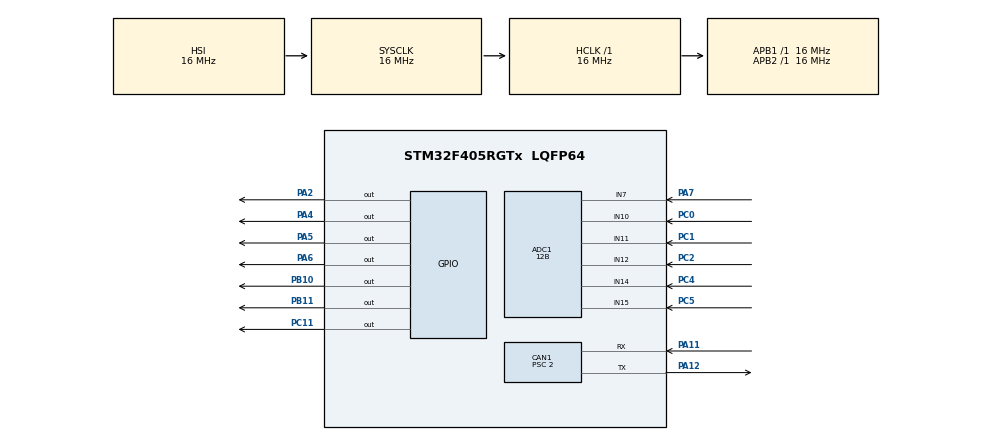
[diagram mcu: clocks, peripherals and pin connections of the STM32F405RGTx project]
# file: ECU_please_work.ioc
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ADC1.Channel-1\#ChannelRegularConversion=ADC_CHANNEL_10
ADC1.Channel-2\#ChannelRegularConversion=ADC_CHANNEL_11
ADC1.Channel-3\#ChannelRegularConversion=ADC_CHANNEL_12
ADC1.Channel-4\#ChannelRegularConversion=ADC_CHANNEL_7
ADC1.Channel-5\#ChannelRegularConversion=ADC_CHANNEL_14
ADC1.Channel-6\#ChannelRegularConversion=ADC_CHANNEL_15
ADC1.NbrOfConversion=6
ADC1.NbrOfConversionFlag=1
ADC1.Rank-1\#ChannelRegularConversion=1
ADC1.Rank-2\#ChannelRegularConversion=2
ADC1.Rank-3\#ChannelRegularConversion=3
ADC1.Rank-4\#ChannelRegularConversion=4
ADC1.Rank-5\#ChannelRegularConversion=5
ADC1.Rank-6\#ChannelRegularConversion=6
ADC1.Resolution=ADC_RESOLUTION_12B
ADC1.SamplingTime-1\#ChannelRegularConversion=ADC_SAMPLETIME_15CYCLES
ADC1.SamplingTime-2\#ChannelRegularConversion=ADC_SAMPLETIME_15CYCLES
ADC1.SamplingTime-3\#ChannelRegularConversion=ADC_SAMPLETIME_15CYCLES
ADC1.SamplingTime-4\#ChannelRegularConversion=ADC_SAMPLETIME_15CYCLES
ADC1.SamplingTime-5\#ChannelRegularConversion=ADC_SAMPLETIME_15CYCLES
ADC1.SamplingTime-6\#ChannelRegularConversion=ADC_SAMPLETIME_15CYCLES
ADC1.ScanConvMode=ENABLE
ADC1.master=1
CAN1.BS1=CAN_BS1_12TQ
CAN1.BS2=CAN_BS2_3TQ
CAN1.CalculateBaudRate=500000
CAN1.CalculateTimeBit=2000
CAN1.CalculateTimeQuantum=125.0
CAN1.Prescaler=2
Mcu.Family=STM32F4
Mcu.Name=STM32F405RGTx
Mcu.Package=LQFP64
NVIC.CAN1_RX0_IRQn=true\:0\:0\:false\:false\:true\:true\:true\:true
NVIC.CAN1_SCE_IRQn=true\:0\:0\:false\:false\:true\:true\:true\:true
NVIC.PriorityGroup=NVIC_PRIORITYGROUP_4
PA11.Mode=CAN_Activate
PA11.Signal=CAN1_RX
PA12.Mode=CAN_Activate
PA12.Signal=CAN1_TX
PA13.Mode=Serial_Wire
PA13.Signal=SYS_JTMS-SWDIO
PA14.Mode=Serial_Wire
PA14.Signal=SYS_JTCK-SWCLK
PA2.GPIO_Speed=GPIO_SPEED_FREQ_HIGH
PA2.PinState=GPIO_PIN_RESET
PA2.Signal=GPIO_Output
PA4.Signal=GPIO_Output
PA5.Signal=GPIO_Output
PA6.Signal=GPIO_Output
PA7.Signal=ADCx_IN7
PB10.GPIO_PuPd=GPIO_NOPULL
PB10.GPIO_Speed=GPIO_SPEED_FREQ_HIGH
PB10.PinState=GPIO_PIN_RESET
PB10.Signal=GPIO_Output
PB11.GPIO_PuPd=GPIO_NOPULL
PB11.GPIO_Speed=GPIO_SPEED_FREQ_HIGH
PB11.PinState=GPIO_PIN_RESET
PB11.Signal=GPIO_Output
PC0.Signal=ADCx_IN10
PC1.Signal=ADCx_IN11
PC11.GPIO_PuPd=GPIO_PULLDOWN
PC11.GPIO_Speed=GPIO_SPEED_FREQ_HIGH
PC11.PinState=GPIO_PIN_RESET
PC11.Signal=GPIO_Output
PC2.Signal=ADCx_IN12
PC4.Signal=ADCx_IN14
PC5.Signal=ADCx_IN15
ProjectManager.HeapSize=0x200
ProjectManager.StackSize=0x400
ProjectManager.TargetToolchain=CMake
RCC.AHBFreq_Value=16000000
RCC.APB1Freq_Value=16000000
RCC.APB2Freq_Value=16000000
RCC.CortexFreq_Value=16000000
RCC.HSE_VALUE=25000000
RCC.HSI_VALUE=16000000
RCC.LSE_VALUE=32768
RCC.SYSCLKFreq_VALUE=16000000
RCC.VCOOutputFreq_Value=192000000
SH.ADCx_IN10.0=ADC1_IN10,IN10
SH.ADCx_IN11.0=ADC1_IN11,IN11
SH.ADCx_IN12.0=ADC1_IN12,IN12
SH.ADCx_IN14.0=ADC1_IN14,IN14
SH.ADCx_IN15.0=ADC1_IN15,IN15
SH.ADCx_IN7.0=ADC1_IN7,IN7
VP_IWDG_VS_IWDG.Mode=IWDG_Activate
board=custom

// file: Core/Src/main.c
/* USER CODE BEGIN Header */
/**
  ******************************************************************************
  * @file           : main.c
  * @brief          : Main program body
  ******************************************************************************
  * @attention
  *
  * Copyright (c) 2026 STMicroelectronics.
  * All rights reserved.
  *
  * This software is licensed under terms that can be found in the LICENSE file
  * in the root directory of this software component.
  * If no LICENSE file comes with this software, it is provided AS-IS.
  *
  ******************************************************************************
  */
/* USER CODE END Header */
#include "main.h"
#include "adc.h"
#include "can.h"
#include "iwdg.h"
#include "gpio.h"

/* USER CODE BEGIN PV */
CAN_TxHeaderTypeDef TxHeader;	//Instance of the TxHeader structure
CAN_RxHeaderTypeDef RxHeader;	//Instance of the RxHeader structure
CAN_FilterTypeDef Filter;

uint8_t TxData[8];				//TxData buffer
uint8_t RxData[8];				//RxData buffer
uint16_t ADC_Array[12];
uint32_t TxMailbox;				//TxMailbox address (Handled by HAL)
uint16_t max=0;

uint8_t RxReady = 0;			//Flag indicating that a new CAN message is ready

typedef struct
{
    CAN_RxHeaderTypeDef header;
    uint8_t data[8];
} CAN_Message_t;

#define CAN_RX_QUEUE_SIZE 32

CAN_Message_t CanRxQueue[CAN_RX_QUEUE_SIZE];

volatile uint16_t CanRxHead = 0;
volatile uint16_t CanRxTail = 0;
volatile uint32_t CanRxOverflow = 0;
/* USER CODE END PV */

void SystemClock_Config(void);

/* USER CODE BEGIN 0 */
//void HAL_CAN_RxFifo0MsgPendingCallback(CAN_HandleTypeDef *hcan)							//Message pending callback function
//{
//    while (HAL_CAN_GetRxFifoFillLevel(hcan, CAN_RX_FIFO0) > 0)							//While() loop ensures all CAN frames in FIFO0 are drained (if > 1)
//    {
//    	TxData[0] = 0x11;
//    	TxData[1] = 0x11;
//    	HAL_CAN_AddTxMessage(&hcan2, &TxHeader, TxData, &TxMailbox);
//        if (HAL_CAN_GetRxMessage(hcan, CAN_RX_FIFO0, &RxHeader, RxData) == HAL_OK)		//Release one frame from FIFO0 to memory
//        {
//            RxReady = 1; 																//Message ready flag. Add Queue if dealing with multiple frames at once
//        }
//    }
//}

void HAL_CAN_RxFifo0MsgPendingCallback(CAN_HandleTypeDef *hcan)
{
    while(HAL_CAN_GetRxFifoFillLevel(hcan, CAN_RX_FIFO0) > 0)
    {
        uint16_t nextHead =
            (CanRxHead + 1) % CAN_RX_QUEUE_SIZE;

        if(nextHead == CanRxTail)
        {
            /* Queue full */
            CanRxOverflow++;
            break;
        }

        if(HAL_CAN_GetRxMessage(
                hcan,
                CAN_RX_FIFO0,
                &CanRxQueue[CanRxHead].header,
                CanRxQueue[CanRxHead].data) == HAL_OK)
        {
            CanRxHead = nextHead;
        }
    }
}
volatile uint32_t LastCanErr = 0;
volatile uint32_t LastCanEsr = 0;
volatile uint32_t LastCanInstance = 0;

void HAL_CAN_ErrorCallback(CAN_HandleTypeDef *hcan)
{
    LastCanErr = hcan->ErrorCode;
    LastCanEsr = hcan->Instance->ESR;
    LastCanInstance = (uint32_t)hcan->Instance;
}

uint8_t CAN_ReadMessage(CAN_Message_t *msg)
{
    if(CanRxHead == CanRxTail)
    {
        return 0; // queue empty
    }

    *msg = CanRxQueue[CanRxTail];

    CanRxTail =
        (CanRxTail + 1) % CAN_RX_QUEUE_SIZE;

    return 1;
}
void ADC_Update(uint16_t ADC_Array[])
{
    for (int i = 0; i < 2; i++)
    {
        // Set mux state
        HAL_GPIO_WritePin(GPIOA,
                          GPIO_PIN_4 | GPIO_PIN_5 | GPIO_PIN_6,
                          i ? GPIO_PIN_SET : GPIO_PIN_RESET);

        HAL_Delay(10); // let mux settle

        HAL_ADC_Start(&hadc1);

        for (int j = 0; j < 6; j++)
        {
            HAL_ADC_PollForConversion(&hadc1, HAL_MAX_DELAY);
            ADC_Array[j + i * 6] = HAL_ADC_GetValue(&hadc1);
        }

        HAL_ADC_Stop(&hadc1);
    }
}
uint16_t Max_Adc(uint16_t ADC_Array[])
{
    uint16_t max = ADC_Array[0];

    for(int i = 1; i < 12; i++)
    {
        if(ADC_Array[i] > max)
        {
            max = ADC_Array[i];
        }
    }

    return max;
}
/* USER CODE END 0 */

int main(void)
{
  /* USER CODE BEGIN 1 */

	__HAL_RCC_CLEAR_RESET_FLAGS();
  /* USER CODE END 1 */

  /* MCU Configuration--------------------------------------------------------*/

  /* Reset of all peripherals, Initializes the Flash interface and the Systick. */
  HAL_Init();

  /* Configure the system clock */
  SystemClock_Config();

  /* Initialize all configured peripherals */
  MX_GPIO_Init();
  MX_CAN1_Init();
  MX_ADC1_Init();
  MX_IWDG_Init();
  /* USER CODE BEGIN 2 */
  TxHeader.DLC = 2; 			//CAN frame data length (up to 8 bytes)
  TxHeader.IDE = CAN_ID_STD; 	//CAN ID length (Standard or Extended)
  TxHeader.RTR = CAN_RTR_DATA; 	//Request or Data frame
  TxHeader.StdId = 0x123; 		//Device CAN ID

  if (HAL_CAN_Start(&hcan1) != HAL_OK)
  {
      Error_Handler();
  }

  // can ID filter dummy ver, change accordingly
  Filter.FilterBank = 0;
  Filter.FilterMode = CAN_FILTERMODE_IDMASK;
  Filter.FilterScale = CAN_FILTERSCALE_32BIT;
  Filter.FilterIdHigh = (0x123 << 5); // Shift required for 11-bit Standard IDs
  Filter.FilterIdLow = 0x0000;
  Filter.FilterMaskIdHigh = 0xFFE0;   // Exact match mask
  Filter.FilterMaskIdLow = 0x0000;
  Filter.FilterFIFOAssignment = CAN_RX_FIFO0;
  Filter.FilterActivation = ENABLE;

//  if (HAL_CAN_Start(&hcan2) != HAL_OK)
//   {
//       Error_Handler();
//   }

//  HAL_CAN_ActivateNotification(&hcan2, CAN_IT_RX_FIFO0_MSG_PENDING);
  HAL_CAN_ActivateNotification(
      &hcan1,
      CAN_IT_RX_FIFO0_MSG_PENDING |
      CAN_IT_ERROR |
      CAN_IT_BUSOFF |
      CAN_IT_LAST_ERROR_CODE |
      CAN_IT_ERROR_WARNING |
      CAN_IT_ERROR_PASSIVE);

//  HAL_CAN_ActivateNotification(
//      &hcan2,
//      CAN_IT_RX_FIFO0_MSG_PENDING |
//      CAN_IT_ERROR |
//      CAN_IT_BUSOFF |
//      CAN_IT_LAST_ERROR_CODE |
//      CAN_IT_ERROR_WARNING |
//      CAN_IT_ERROR_PASSIVE);
  uint32_t adcValue = 0;

  // Then enter while loop
  /* USER CODE END 2 */

  /* Infinite loop */
  /* USER CODE BEGIN WHILE */
  while (1)
  {
//	  if (RxReady == 1)
//	  	  {
//	  		  /* Clear the message ready flag */
//	  		  RxReady = 0;
//
//	  		  /* Copy and switch data bytes from RxData to TxData */
//	  		  TxData[0] = RxData[1];
//	  		  TxData[1] = RxData[0];
//
//	  		  /* Echo the modified frame back to Kev */
//	  		  HAL_CAN_AddTxMessage(&hcan2, &TxHeader, TxData, &TxMailbox);
//
//	  	  	 }

	  CAN_Message_t msg;

	  if(CAN_ReadMessage(&msg)) {
      // --- interrupt handler ---
      // --- code from before ---
      // TxData[0] = msg.data[1];
      // TxData[1] = msg.data[0];
      // //HAL_CAN_AddTxMessage(
      //   //&hcan2,
      //   //&TxHeader,
      //   //TxData,
      //   //&TxMailbox);
      // HAL_CAN_AddTxMessage(
      //   &hcan1,
      //   &TxHeader,
      //   TxData,
      //  &TxMailbox);

      for(int i = 0; i < 12; i += 4){

        TxData[0] = ADC_Array[i] & 0xFF;
        TxData[1] = (ADC_Array[i] >> 8) & 0x0F;

        TxData[2] = ADC_Array[i+1] & 0xFF;
        TxData[3] = (ADC_Array[i+1] >> 8) & 0x0F;

        TxData[4] = ADC_Array[i+2] & 0xFF;
        TxData[5] = (ADC_Array[i+2] >> 8) & 0x0F;

        TxData[6] = ADC_Array[i+3] & 0xFF;
        TxData[7] = (ADC_Array[i+3] >> 8) & 0x0F;

        // currently a dummy as well, so that the 3 can messages can have different IDs
        TxHeader.DLC = 8;
        TxHeader.StdId = 0x200 + (i/4);

        HAL_CAN_AddTxMessage(&hcan1, &TxHeader, TxData, &TxMailbox);
      }
      // return to og value
      TxHeader.DLC = 2;
      TxHeader.StdId = 0x200;
	  }
	  HAL_Delay(100);

	  ADC_Update(ADC_Array);
	  max = Max_Adc(ADC_Array);
	  TxData[1] = adcValue & 0xFF;
    TxData[0] = (adcValue >> 8) & 0x0F;
	  HAL_CAN_AddTxMessage(&hcan1, &TxHeader, TxData, &TxMailbox);

    /* USER CODE END WHILE */

  }
}

void SystemClock_Config(void)
{
  RCC_OscInitTypeDef RCC_OscInitStruct = {0};
  RCC_ClkInitTypeDef RCC_ClkInitStruct = {0};

  /** Configure the main internal regulator output voltage
  */
  __HAL_RCC_PWR_CLK_ENABLE();
  __HAL_PWR_VOLTAGESCALING_CONFIG(PWR_REGULATOR_VOLTAGE_SCALE1);

  /** Initializes the RCC Oscillators according to the specified parameters
  * in the RCC_OscInitTypeDef structure.
  */
  RCC_OscInitStruct.OscillatorType = RCC_OSCILLATORTYPE_HSI|RCC_OSCILLATORTYPE_LSI;
  RCC_OscInitStruct.HSIState = RCC_HSI_ON;
  RCC_OscInitStruct.HSICalibrationValue = RCC_HSICALIBRATION_DEFAULT;
  RCC_OscInitStruct.LSIState = RCC_LSI_ON;
  RCC_OscInitStruct.PLL.PLLState = RCC_PLL_NONE;
  if (HAL_RCC_OscConfig(&RCC_OscInitStruct) != HAL_OK)
  {
    Error_Handler();
  }

  /** Initializes the CPU, AHB and APB buses clocks
  */
  RCC_ClkInitStruct.ClockType = RCC_CLOCKTYPE_HCLK|RCC_CLOCKTYPE_SYSCLK
                              |RCC_CLOCKTYPE_PCLK1|RCC_CLOCKTYPE_PCLK2;
  RCC_ClkInitStruct.SYSCLKSource = RCC_SYSCLKSOURCE_HSI;
  RCC_ClkInitStruct.AHBCLKDivider = RCC_SYSCLK_DIV1;
  RCC_ClkInitStruct.APB1CLKDivider = RCC_HCLK_DIV1;
  RCC_ClkInitStruct.APB2CLKDivider = RCC_HCLK_DIV1;

  if (HAL_RCC_ClockConfig(&RCC_ClkInitStruct, FLASH_LATENCY_0) != HAL_OK)
  {
    Error_Handler();
  }
}

void Error_Handler(void)
{
  __disable_irq();
  while (1)
  {
  }
}
